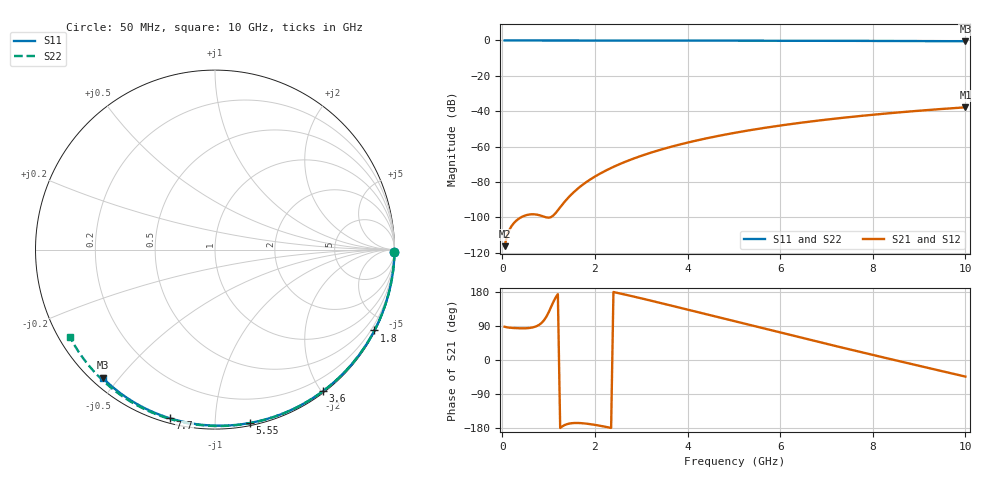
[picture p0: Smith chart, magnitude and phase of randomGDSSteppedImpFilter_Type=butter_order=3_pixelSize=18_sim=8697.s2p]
! freq	dB(S11)	phase(S11)	dB(S12)	phase(S12)
!  dB(S21)	phase(S21)	dB(S22)	phase(S22)
!S-par simulation data
#  GHz  S  DB  R 50
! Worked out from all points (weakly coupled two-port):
!   200 points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, 50 MHz to 10 GHz, reference 50 ohm
!   highest |S21| = -37.81 dB at 10 GHz (marker M1); lowest = -116.3 dB at 50 MHz (marker M2)
!   lowest |S11| = -0.4 dB at 10 GHz (marker M3), VSWR 39.07, Z = 1.54 - j22.6 ohm
!   |S11| at or under -10 dB: nowhere
!   |S22| runs from -0.5 to 0.0 dB; largest |S21 - S12| = 0
!   S11 on the Smith chart (normalised r, x): 50 MHz: open; 1.8 GHz: 0.04, -4.18; 3.6 GHz: 0.02, -2.02; 5.55 GHz: 0.02, -1.22; 7.7 GHz: 0.02, -0.77; 10 GHz: 0.03, -0.45
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0.05  -0.00 -0.8  -116.31 87.8  -116.31 87.8  -0.00 -0.9
0.45  -0.01 -6.8  -99.41 83.6  -99.41 83.6  -0.01 -7.8
0.9  -0.02 -13.6  -99.65 104.8  -99.65 104.8  -0.02 -15.5
1.3  -0.02 -19.5  -92.66 -174.8  -92.66 -174.8  -0.03 -22.2
1.75  -0.03 -26.2  -81.30 -167.1  -81.30 -167.1  -0.04 -29.8
1.8  -0.03 -26.9  -80.35 -167.7  -80.35 -167.7  -0.04 -30.6
1.85  -0.04 -27.6  -79.45 -168.4  -79.45 -168.4  -0.04 -31.5
2.05  -0.04 -30.5  -76.18 -172.2  -76.18 -172.2  -0.04 -34.8
2.2  -0.04 -32.7  -74.04 -175.6  -74.04 -175.6  -0.05 -37.2
2.5  -0.05 -37.1  -70.31 176.8  -70.31 176.8  -0.05 -42.1
2.9  -0.06 -42.8  -66.16 165.6  -66.16 165.6  -0.06 -48.6
3.4  -0.07 -49.8  -61.91 151.0  -61.91 151.0  -0.08 -56.6
3.6  -0.07 -52.6  -60.43 145.0  -60.43 145.0  -0.08 -59.7
4.3  -0.09 -62.2  -55.96 123.9  -55.96 123.9  -0.10 -70.4
5.05  -0.11 -72.1  -52.08 101.1  -52.08 101.1  -0.13 -81.6
5.55  -0.13 -78.6  -49.88 86.0  -49.88 86.0  -0.15 -88.9
6.1  -0.15 -85.5  -47.75 69.5  -47.75 69.5  -0.17 -96.7
6.7  -0.18 -92.9  -45.69 51.6  -45.69 51.6  -0.21 -105.0
7.7  -0.24 -104.9  -42.78 22.1  -42.78 22.1  -0.27 -118.6
8.35  -0.29 -112.5  -41.17 3.3  -41.17 3.3  -0.33 -127.2
9.2  -0.36 -122.2  -39.32 -21.0  -39.32 -21.0  -0.41 -138.5
10  -0.44 -131.3  -37.81 -43.7  -37.81 -43.7  -0.51 -149.1
